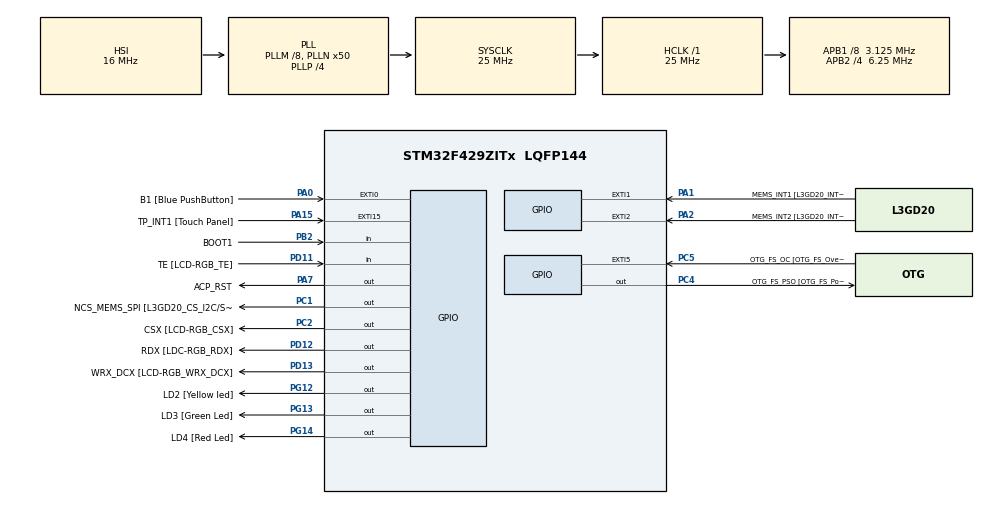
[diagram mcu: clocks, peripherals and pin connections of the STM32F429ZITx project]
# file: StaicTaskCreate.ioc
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Mcu.Family=STM32F4
Mcu.Name=STM32F429ZITx
Mcu.Package=LQFP144
NVIC.PriorityGroup=NVIC_PRIORITYGROUP_4
NVIC.TIM6_DAC_IRQn=true\:15\:0\:false\:false\:true\:false\:true\:true
NVIC.TimeBase=TIM6_DAC_IRQn
NVIC.TimeBaseIP=TIM6
PA0/WKUP.GPIO_Label=B1 [Blue PushButton]
PA0/WKUP.GPIO_ModeDefaultEXTI=GPIO_MODE_EVT_RISING
PA0/WKUP.GPIO_PuPd=GPIO_NOPULL
PA0/WKUP.Signal=GPXTI0
PA1.GPIO_Label=MEMS_INT1 [L3GD20_INT1]
PA1.GPIO_ModeDefaultEXTI=GPIO_MODE_EVT_RISING
PA1.GPIO_PuPd=GPIO_NOPULL
PA1.Signal=GPXTI1
PA10.GPIO_Label=STLINK_TX [STM32F103CBT6_PA2]
PA10.Signal=USART1_RX
PA11.GPIO_Label=R4
PA11.GPIO_Mode=GPIO_MODE_AF_PP
PA11.GPIO_PuPd=GPIO_NOPULL
PA11.GPIO_Speed=GPIO_SPEED_FREQ_LOW
PA11.Signal=LTDC_R4
PA12.GPIO_Label=R5
PA12.GPIO_Mode=GPIO_MODE_AF_PP
PA12.GPIO_PuPd=GPIO_NOPULL
PA12.GPIO_Speed=GPIO_SPEED_FREQ_LOW
PA12.Signal=LTDC_R5
PA13.GPIO_Label=SWDIO
PA13.Signal=SYS_JTMS-SWDIO
PA14.GPIO_Label=SWCLK
PA14.Signal=SYS_JTCK-SWCLK
PA15.GPIO_Label=TP_INT1 [Touch Panel]
PA15.GPIO_ModeDefaultEXTI=GPIO_MODE_EVT_RISING
PA15.GPIO_PuPd=GPIO_NOPULL
PA15.Signal=GPXTI15
PA2.GPIO_Label=MEMS_INT2 [L3GD20_INT2]
PA2.GPIO_ModeDefaultEXTI=GPIO_MODE_EVT_RISING
PA2.GPIO_PuPd=GPIO_NOPULL
PA2.Signal=GPXTI2
PA3.GPIO_Label=B5
PA3.GPIO_Mode=GPIO_MODE_AF_PP
PA3.GPIO_PuPd=GPIO_NOPULL
PA3.GPIO_Speed=GPIO_SPEED_FREQ_LOW
PA3.Signal=LTDC_B5
PA4.GPIO_Label=VSYNC
PA4.GPIO_Mode=GPIO_MODE_AF_PP
PA4.GPIO_PuPd=GPIO_NOPULL
PA4.GPIO_Speed=GPIO_SPEED_FREQ_LOW
PA4.Signal=LTDC_VSYNC
PA6.GPIO_Label=G2
PA6.GPIO_Mode=GPIO_MODE_AF_PP
PA6.GPIO_PuPd=GPIO_NOPULL
PA6.GPIO_Speed=GPIO_SPEED_FREQ_LOW
PA6.Signal=LTDC_G2
PA7.GPIO_Label=ACP_RST
PA7.GPIO_Mode=GPIO_MODE_OUTPUT_PP
PA7.GPIO_PuPd=GPIO_NOPULL
PA7.GPIO_Speed=GPIO_SPEED_FREQ_LOW
PA7.Signal=GPIO_Output
PA8.GPIO_Label=I2C3_SCL [ACP/RF_SCL]
PA8.GPIO_Mode=GPIO_MODE_AF_OD
PA8.GPIO_PuPd=GPIO_NOPULL
PA8.GPIO_Speed=GPIO_SPEED_FREQ_LOW
PA8.Signal=I2C3_SCL
PA9.GPIO_Label=STLINK_RX [STM32F103CBT6_PA3]
PA9.Signal=USART1_TX
PB0.GPIO_Label=R3
PB0.GPIO_Mode=GPIO_MODE_AF_PP
PB0.GPIO_PuPd=GPIO_NOPULL
PB0.GPIO_Speed=GPIO_SPEED_FREQ_LOW
PB0.Signal=LTDC_R3
PB1.GPIO_Label=R6
PB1.GPIO_Mode=GPIO_MODE_AF_PP
PB1.GPIO_PuPd=GPIO_NOPULL
PB1.GPIO_Speed=GPIO_SPEED_FREQ_LOW
PB1.Signal=LTDC_R6
PB10.GPIO_Label=G4
PB10.GPIO_Mode=GPIO_MODE_AF_PP
PB10.GPIO_PuPd=GPIO_NOPULL
PB10.GPIO_Speed=GPIO_SPEED_FREQ_LOW
PB10.Signal=LTDC_G4
PB11.GPIO_Label=G5
PB11.GPIO_Mode=GPIO_MODE_AF_PP
PB11.GPIO_PuPd=GPIO_NOPULL
PB11.GPIO_Speed=GPIO_SPEED_FREQ_LOW
PB11.Signal=LTDC_G5
PB12.GPIO_Label=OTG_HS_ID
PB12.GPIO_Mode=GPIO_MODE_AF_PP
PB12.GPIO_PuPd=GPIO_NOPULL
PB12.GPIO_Speed=GPIO_SPEED_FREQ_LOW
PB12.Signal=USB_OTG_HS_ID
PB13.GPIO_Label=VBUS_HS
PB13.GPIO_Mode=GPIO_MODE_INPUT
PB13.GPIO_PuPd=GPIO_NOPULL
PB13.Signal=USB_OTG_HS_VBUS
PB14.GPIO_Label=OTG_HS_DM
PB14.GPIO_Mode=GPIO_MODE_AF_PP
PB14.GPIO_PuPd=GPIO_NOPULL
PB14.GPIO_Speed=GPIO_SPEED_FREQ_LOW
PB14.Signal=USB_OTG_HS_DM
PB15.GPIO_Label=OTG_HS_DP
PB15.GPIO_Mode=GPIO_MODE_AF_PP
PB15.GPIO_PuPd=GPIO_NOPULL
PB15.GPIO_Speed=GPIO_SPEED_FREQ_LOW
PB15.Signal=USB_OTG_HS_DP
PB2/BOOT1.GPIO_Label=BOOT1
PB2/BOOT1.GPIO_Mode=GPIO_MODE_INPUT
PB2/BOOT1.GPIO_PuPd=GPIO_NOPULL
PB2/BOOT1.Signal=GPIO_Input
PB5.GPIO_Label=SDCKE1
PB5.GPIO_Mode=GPIO_MODE_AF_PP
PB5.GPIO_PuPd=GPIO_NOPULL
PB5.GPIO_Speed=GPIO_SPEED_FREQ_VERY_HIGH
PB5.Signal=FMC_SDCKE1
PB6.GPIO_Label=SDNE1 [SDRAM_CS]
PB6.GPIO_Mode=GPIO_MODE_AF_PP
PB6.GPIO_PuPd=GPIO_NOPULL
PB6.GPIO_Speed=GPIO_SPEED_FREQ_VERY_HIGH
PB6.Signal=FMC_SDNE1
PB8.GPIO_Label=B6
PB8.GPIO_Mode=GPIO_MODE_AF_PP
PB8.GPIO_PuPd=GPIO_NOPULL
PB8.GPIO_Speed=GPIO_SPEED_FREQ_LOW
PB8.Signal=LTDC_B6
PB9.GPIO_Label=B7
PB9.GPIO_Mode=GPIO_MODE_AF_PP
PB9.GPIO_PuPd=GPIO_NOPULL
PB9.GPIO_Speed=GPIO_SPEED_FREQ_LOW
PB9.Signal=LTDC_B7
PC0.GPIO_Label=SDNWE
PC0.GPIO_Mode=GPIO_MODE_AF_PP
PC0.GPIO_PuPd=GPIO_NOPULL
PC0.GPIO_Speed=GPIO_SPEED_FREQ_VERY_HIGH
PC0.Signal=FMC_SDNWE
PC1.GPIO_Label=NCS_MEMS_SPI [L3GD20_CS_I2C/SPI]
PC1.GPIO_Mode=GPIO_MODE_OUTPUT_PP
PC1.GPIO_PuPd=GPIO_NOPULL
PC1.GPIO_Speed=GPIO_SPEED_FREQ_LOW
PC1.Signal=GPIO_Output
PC10.GPIO_Label=R2
PC10.GPIO_Mode=GPIO_MODE_AF_PP
PC10.GPIO_PuPd=GPIO_NOPULL
PC10.GPIO_Speed=GPIO_SPEED_FREQ_LOW
PC10.Signal=LTDC_R2
PC14/OSC32_IN.GPIO_Label=PC14-OSC32_IN
PC14/OSC32_IN.Signal=RCC_OSC32_IN
PC15/OSC32_OUT.GPIO_Label=PC15-OSC32_OUT
PC15/OSC32_OUT.Signal=RCC_OSC32_OUT
PC2.GPIO_Label=CSX [LCD-RGB_CSX]
PC2.GPIO_Mode=GPIO_MODE_OUTPUT_PP
PC2.GPIO_PuPd=GPIO_NOPULL
PC2.GPIO_Speed=GPIO_SPEED_FREQ_LOW
PC2.Signal=GPIO_Output
PC4.GPIO_Label=OTG_FS_PSO [OTG_FS_PowerSwitchOn]
PC4.GPIO_Mode=GPIO_MODE_OUTPUT_PP
PC4.GPIO_PuPd=GPIO_NOPULL
PC4.GPIO_Speed=GPIO_SPEED_FREQ_LOW
PC4.Signal=GPIO_Output
PC5.GPIO_Label=OTG_FS_OC [OTG_FS_OverCurrent]
PC5.GPIO_ModeDefaultEXTI=GPIO_MODE_EVT_RISING
PC5.Signal=GPXTI5
PC6.GPIO_Label=HSYNC
PC6.GPIO_Mode=GPIO_MODE_AF_PP
PC6.GPIO_PuPd=GPIO_NOPULL
PC6.GPIO_Speed=GPIO_SPEED_FREQ_LOW
PC6.Signal=LTDC_HSYNC
PC7.GPIO_Label=G6
PC7.GPIO_Mode=GPIO_MODE_AF_PP
PC7.GPIO_PuPd=GPIO_NOPULL
PC7.GPIO_Speed=GPIO_SPEED_FREQ_LOW
PC7.Signal=LTDC_G6
PC9.GPIO_Label=I2C3_SDA [ACP/RF_SDA]
PC9.GPIO_Mode=GPIO_MODE_AF_OD
PC9.GPIO_PuPd=GPIO_NOPULL
PC9.GPIO_Speed=GPIO_SPEED_FREQ_LOW
PC9.Signal=I2C3_SDA
PD0.GPIO_Label=D2
PD0.GPIO_Mode=GPIO_MODE_AF_PP
PD0.GPIO_PuPd=GPIO_NOPULL
PD0.GPIO_Speed=GPIO_SPEED_FREQ_VERY_HIGH
PD0.Signal=FMC_D2_DA2
PD1.GPIO_Label=D3
PD1.GPIO_Mode=GPIO_MODE_AF_PP
PD1.GPIO_PuPd=GPIO_NOPULL
PD1.GPIO_Speed=GPIO_SPEED_FREQ_VERY_HIGH
PD1.Signal=FMC_D3_DA3
PD10.GPIO_Label=D15
PD10.GPIO_Mode=GPIO_MODE_AF_PP
PD10.GPIO_PuPd=GPIO_NOPULL
PD10.GPIO_Speed=GPIO_SPEED_FREQ_VERY_HIGH
PD10.Signal=FMC_D15_DA15
PD11.GPIO_Label=TE [LCD-RGB_TE]
PD11.GPIO_Mode=GPIO_MODE_INPUT
PD11.GPIO_PuPd=GPIO_NOPULL
PD11.Signal=GPIO_Input
PD12.GPIO_Label=RDX [LDC-RGB_RDX]
PD12.GPIO_Mode=GPIO_MODE_OUTPUT_PP
PD12.GPIO_PuPd=GPIO_NOPULL
PD12.GPIO_Speed=GPIO_SPEED_FREQ_LOW
PD12.Signal=GPIO_Output
PD13.GPIO_Label=WRX_DCX [LCD-RGB_WRX_DCX]
PD13.GPIO_Mode=GPIO_MODE_OUTPUT_PP
PD13.GPIO_PuPd=GPIO_NOPULL
PD13.GPIO_Speed=GPIO_SPEED_FREQ_LOW
PD13.Signal=GPIO_Output
PD14.GPIO_Label=D0
PD14.GPIO_Mode=GPIO_MODE_AF_PP
PD14.GPIO_PuPd=GPIO_NOPULL
PD14.GPIO_Speed=GPIO_SPEED_FREQ_VERY_HIGH
PD14.Signal=FMC_D0_DA0
PD15.GPIO_Label=D1
PD15.GPIO_Mode=GPIO_MODE_AF_PP
PD15.GPIO_PuPd=GPIO_NOPULL
PD15.GPIO_Speed=GPIO_SPEED_FREQ_VERY_HIGH
PD15.Signal=FMC_D1_DA1
PD3.GPIO_Label=G7
PD3.GPIO_Mode=GPIO_MODE_AF_PP
PD3.GPIO_PuPd=GPIO_NOPULL
PD3.GPIO_Speed=GPIO_SPEED_FREQ_LOW
PD3.Signal=LTDC_G7
PD6.GPIO_Label=B2
PD6.GPIO_Mode=GPIO_MODE_AF_PP
PD6.GPIO_PuPd=GPIO_NOPULL
PD6.GPIO_Speed=GPIO_SPEED_FREQ_LOW
PD6.Signal=LTDC_B2
PD8.GPIO_Label=D13
PD8.GPIO_Mode=GPIO_MODE_AF_PP
PD8.GPIO_PuPd=GPIO_NOPULL
PD8.GPIO_Speed=GPIO_SPEED_FREQ_VERY_HIGH
PD8.Signal=FMC_D13_DA13
PD9.GPIO_Label=D14
PD9.GPIO_Mode=GPIO_MODE_AF_PP
PD9.GPIO_PuPd=GPIO_NOPULL
PD9.GPIO_Speed=GPIO_SPEED_FREQ_VERY_HIGH
PD9.Signal=FMC_D14_DA14
PE0.GPIO_Label=NBL0 [SDRAM_LDQM]
PE0.GPIO_Mode=GPIO_MODE_AF_PP
PE0.GPIO_PuPd=GPIO_NOPULL
PE0.GPIO_Speed=GPIO_SPEED_FREQ_VERY_HIGH
PE0.Signal=FMC_NBL0
PE1.GPIO_Label=NBL1 [SDRAM_UDQM]
PE1.GPIO_Mode=GPIO_MODE_AF_PP
PE1.GPIO_PuPd=GPIO_NOPULL
PE1.GPIO_Speed=GPIO_SPEED_FREQ_VERY_HIGH
PE1.Signal=FMC_NBL1
PE10.GPIO_Label=D7
PE10.GPIO_Mode=GPIO_MODE_AF_PP
PE10.GPIO_PuPd=GPIO_NOPULL
PE10.GPIO_Speed=GPIO_SPEED_FREQ_VERY_HIGH
PE10.Signal=FMC_D7_DA7
PE11.GPIO_Label=D8
PE11.GPIO_Mode=GPIO_MODE_AF_PP
PE11.GPIO_PuPd=GPIO_NOPULL
PE11.GPIO_Speed=GPIO_SPEED_FREQ_VERY_HIGH
PE11.Signal=FMC_D8_DA8
PE12.GPIO_Label=D9
PE12.GPIO_Mode=GPIO_MODE_AF_PP
PE12.GPIO_PuPd=GPIO_NOPULL
PE12.GPIO_Speed=GPIO_SPEED_FREQ_VERY_HIGH
PE12.Signal=FMC_D9_DA9
PE13.GPIO_Label=D10
PE13.GPIO_Mode=GPIO_MODE_AF_PP
PE13.GPIO_PuPd=GPIO_NOPULL
PE13.GPIO_Speed=GPIO_SPEED_FREQ_VERY_HIGH
PE13.Signal=FMC_D10_DA10
PE14.GPIO_Label=D11
PE14.GPIO_Mode=GPIO_MODE_AF_PP
PE14.GPIO_PuPd=GPIO_NOPULL
PE14.GPIO_Speed=GPIO_SPEED_FREQ_VERY_HIGH
PE14.Signal=FMC_D11_DA11
PE15.GPIO_Label=D12
PE15.GPIO_Mode=GPIO_MODE_AF_PP
PE15.GPIO_PuPd=GPIO_NOPULL
PE15.GPIO_Speed=GPIO_SPEED_FREQ_VERY_HIGH
PE15.Signal=FMC_D12_DA12
PE7.GPIO_Label=D4
PE7.GPIO_Mode=GPIO_MODE_AF_PP
PE7.GPIO_PuPd=GPIO_NOPULL
PE7.GPIO_Speed=GPIO_SPEED_FREQ_VERY_HIGH
PE7.Signal=FMC_D4_DA4
PE8.GPIO_Label=D5
PE8.GPIO_Mode=GPIO_MODE_AF_PP
PE8.GPIO_PuPd=GPIO_NOPULL
PE8.GPIO_Speed=GPIO_SPEED_FREQ_VERY_HIGH
PE8.Signal=FMC_D5_DA5
PE9.GPIO_Label=D6
PE9.GPIO_Mode=GPIO_MODE_AF_PP
PE9.GPIO_PuPd=GPIO_NOPULL
PE9.GPIO_Speed=GPIO_SPEED_FREQ_VERY_HIGH
PE9.Signal=FMC_D6_DA6
PF0.GPIO_Label=A0
PF0.GPIO_Mode=GPIO_MODE_AF_PP
PF0.GPIO_PuPd=GPIO_NOPULL
PF0.GPIO_Speed=GPIO_SPEED_FREQ_VERY_HIGH
PF0.Signal=FMC_A0
PF1.GPIO_Label=A1
PF1.GPIO_Mode=GPIO_MODE_AF_PP
PF1.GPIO_PuPd=GPIO_NOPULL
PF1.GPIO_Speed=GPIO_SPEED_FREQ_VERY_HIGH
PF1.Signal=FMC_A1
PF10.GPIO_Label=ENABLE [LCD-RGB_ENABLE]
PF10.GPIO_Mode=GPIO_MODE_AF_PP
PF10.GPIO_PuPd=GPIO_NOPULL
PF10.GPIO_Speed=GPIO_SPEED_FREQ_LOW
PF10.Signal=LTDC_DE
PF11.GPIO_Label=SDNRAS
PF11.GPIO_Mode=GPIO_MODE_AF_PP
PF11.GPIO_PuPd=GPIO_NOPULL
PF11.GPIO_Speed=GPIO_SPEED_FREQ_VERY_HIGH
PF11.Signal=FMC_SDNRAS
PF12.GPIO_Label=A6
PF12.GPIO_Mode=GPIO_MODE_AF_PP
PF12.GPIO_PuPd=GPIO_NOPULL
PF12.GPIO_Speed=GPIO_SPEED_FREQ_VERY_HIGH
PF12.Signal=FMC_A6
PF13.GPIO_Label=A7
PF13.GPIO_Mode=GPIO_MODE_AF_PP
PF13.GPIO_PuPd=GPIO_NOPULL
PF13.GPIO_Speed=GPIO_SPEED_FREQ_VERY_HIGH
PF13.Signal=FMC_A7
PF14.GPIO_Label=A8
PF14.GPIO_Mode=GPIO_MODE_AF_PP
PF14.GPIO_PuPd=GPIO_NOPULL
PF14.GPIO_Speed=GPIO_SPEED_FREQ_VERY_HIGH
PF14.Signal=FMC_A8
PF15.GPIO_Label=A9
PF15.GPIO_Mode=GPIO_MODE_AF_PP
PF15.GPIO_PuPd=GPIO_NOPULL
PF15.GPIO_Speed=GPIO_SPEED_FREQ_VERY_HIGH
PF15.Signal=FMC_A9
PF2.GPIO_Label=A2
PF2.GPIO_Mode=GPIO_MODE_AF_PP
PF2.GPIO_PuPd=GPIO_NOPULL
PF2.GPIO_Speed=GPIO_SPEED_FREQ_VERY_HIGH
PF2.Signal=FMC_A2
PF3.GPIO_Label=A3
PF3.GPIO_Mode=GPIO_MODE_AF_PP
PF3.GPIO_PuPd=GPIO_NOPULL
PF3.GPIO_Speed=GPIO_SPEED_FREQ_VERY_HIGH
PF3.Signal=FMC_A3
PF4.GPIO_Label=A4
PF4.GPIO_Mode=GPIO_MODE_AF_PP
PF4.GPIO_PuPd=GPIO_NOPULL
PF4.GPIO_Speed=GPIO_SPEED_FREQ_VERY_HIGH
PF4.Signal=FMC_A4
PF5.GPIO_Label=A5
PF5.GPIO_Mode=GPIO_MODE_AF_PP
PF5.GPIO_PuPd=GPIO_NOPULL
PF5.GPIO_Speed=GPIO_SPEED_FREQ_VERY_HIGH
PF5.Signal=FMC_A5
PF7.GPIO_Label=SPI5_SCK [L3GD20_SCL/SPC]
PF7.GPIO_Mode=GPIO_MODE_AF_PP
PF7.GPIO_PuPd=GPIO_NOPULL
PF7.GPIO_Speed=GPIO_SPEED_FREQ_LOW
PF7.Signal=SPI5_SCK
PF8.GPIO_Label=SPI5_MISO [L3GD20_SDO]
PF8.GPIO_Mode=GPIO_MODE_AF_PP
PF8.GPIO_PuPd=GPIO_NOPULL
PF8.GPIO_Speed=GPIO_SPEED_FREQ_LOW
PF8.Signal=SPI5_MISO
PF9.GPIO_Label=SPI5_MOSI [L3GD20_SDA/SDI/SDO]
PF9.GPIO_Mode=GPIO_MODE_AF_PP
PF9.GPIO_PuPd=GPIO_NOPULL
PF9.GPIO_Speed=GPIO_SPEED_FREQ_LOW
PF9.Signal=SPI5_MOSI
PG0.GPIO_Label=A10
PG0.GPIO_Mode=GPIO_MODE_AF_PP
PG0.GPIO_PuPd=GPIO_NOPULL
PG0.GPIO_Speed=GPIO_SPEED_FREQ_VERY_HIGH
PG0.Signal=FMC_A10
PG1.GPIO_Label=A11
PG1.GPIO_Mode=GPIO_MODE_AF_PP
PG1.GPIO_PuPd=GPIO_NOPULL
PG1.GPIO_Speed=GPIO_SPEED_FREQ_VERY_HIGH
PG1.Signal=FMC_A11
PG10.GPIO_Label=G3
PG10.GPIO_Mode=GPIO_MODE_AF_PP
PG10.GPIO_PuPd=GPIO_NOPULL
PG10.GPIO_Speed=GPIO_SPEED_FREQ_LOW
PG10.Signal=LTDC_G3
PG11.GPIO_Label=B3
PG11.GPIO_Mode=GPIO_MODE_AF_PP
PG11.GPIO_PuPd=GPIO_NOPULL
PG11.GPIO_Speed=GPIO_SPEED_FREQ_LOW
PG11.Signal=LTDC_B3
PG12.GPIO_Label=LD2 [Yellow led]
PG12.Signal=GPIO_Output
PG13.GPIO_Label=LD3 [Green Led]
PG13.GPIO_Mode=GPIO_MODE_OUTPUT_PP
PG13.GPIO_PuPd=GPIO_NOPULL
PG13.GPIO_Speed=GPIO_SPEED_FREQ_LOW
PG13.Signal=GPIO_Output
PG14.GPIO_Label=LD4 [Red Led]
PG14.GPIO_Mode=GPIO_MODE_OUTPUT_PP
PG14.GPIO_PuPd=GPIO_NOPULL
PG14.GPIO_Speed=GPIO_SPEED_FREQ_LOW
PG14.Signal=GPIO_Output
PG15.GPIO_Label=SDNCAS
PG15.GPIO_Mode=GPIO_MODE_AF_PP
PG15.GPIO_PuPd=GPIO_NOPULL
PG15.GPIO_Speed=GPIO_SPEED_FREQ_VERY_HIGH
PG15.Signal=FMC_SDNCAS
PG4.GPIO_Label=BA0
PG4.GPIO_Mode=GPIO_MODE_AF_PP
PG4.GPIO_PuPd=GPIO_NOPULL
PG4.GPIO_Speed=GPIO_SPEED_FREQ_VERY_HIGH
PG4.Signal=FMC_A14_BA0
PG5.GPIO_Label=BA1
PG5.GPIO_Mode=GPIO_MODE_AF_PP
PG5.GPIO_PuPd=GPIO_NOPULL
PG5.GPIO_Speed=GPIO_SPEED_FREQ_VERY_HIGH
PG5.Signal=FMC_A15_BA1
PG6.GPIO_Label=R7
PG6.GPIO_Mode=GPIO_MODE_AF_PP
PG6.GPIO_PuPd=GPIO_NOPULL
PG6.GPIO_Speed=GPIO_SPEED_FREQ_LOW
PG6.Signal=LTDC_R7
PG7.GPIO_Label=DOTCLK [LCT-RGB_DOTCLK]
PG7.GPIO_Mode=GPIO_MODE_AF_PP
PG7.GPIO_PuPd=GPIO_NOPULL
PG7.GPIO_Speed=GPIO_SPEED_FREQ_LOW
PG7.Signal=LTDC_CLK
PG8.GPIO_Label=SDCLK
PG8.GPIO_Mode=GPIO_MODE_AF_PP
PG8.GPIO_PuPd=GPIO_NOPULL
PG8.GPIO_Speed=GPIO_SPEED_FREQ_VERY_HIGH
PG8.Signal=FMC_SDCLK
PH0/OSC_IN.GPIO_Label=PH0-OSC_IN
PH0/OSC_IN.Signal=RCC_OSC_IN
PH1/OSC_OUT.GPIO_Label=PH1-OSC_OUT
PH1/OSC_OUT.Signal=RCC_OSC_OUT
ProjectManager.HeapSize=0x200
ProjectManager.StackSize=0x400
ProjectManager.TargetToolchain=STM32CubeIDE
RCC.48MHZClocksFreq_Value=14285714.285714285
RCC.AHBFreq_Value=25000000
RCC.APB1CLKDivider=RCC_HCLK_DIV8
RCC.APB1Freq_Value=3125000
RCC.APB1TimFreq_Value=6250000
RCC.APB2CLKDivider=RCC_HCLK_DIV4
RCC.APB2Freq_Value=6250000
RCC.APB2TimFreq_Value=12500000
RCC.CortexFreq_Value=25000000
RCC.HCLKFreq_Value=25000000
RCC.HSE_VALUE=8000000
RCC.HSI_VALUE=16000000
RCC.LSE_VALUE=32768
RCC.PLLM=8
RCC.PLLN=50
RCC.PLLP=RCC_PLLP_DIV4
RCC.PLLQ=7
RCC.SYSCLKFreq_VALUE=25000000
RCC.SYSCLKSource=RCC_SYSCLKSOURCE_PLLCLK
RCC.VCOOutputFreq_Value=100000000
SH.FMC_A0.0=FMC_A0
SH.FMC_A1.0=FMC_A1
SH.FMC_A10.0=FMC_A10
SH.FMC_A11.0=FMC_A11
SH.FMC_A14_BA0.0=FMC_BA0
SH.FMC_A15_BA1.0=FMC_BA1
SH.FMC_A2.0=FMC_A2
SH.FMC_A3.0=FMC_A3
SH.FMC_A4.0=FMC_A4
SH.FMC_A5.0=FMC_A5
SH.FMC_A6.0=FMC_A6
SH.FMC_A7.0=FMC_A7
SH.FMC_A8.0=FMC_A8
SH.FMC_A9.0=FMC_A9
SH.FMC_D0_DA0.0=FMC_D0
SH.FMC_D10_DA10.0=FMC_D10
SH.FMC_D11_DA11.0=FMC_D11
SH.FMC_D12_DA12.0=FMC_D12
SH.FMC_D13_DA13.0=FMC_D13
SH.FMC_D14_DA14.0=FMC_D14
SH.FMC_D15_DA15.0=FMC_D15
SH.FMC_D1_DA1.0=FMC_D1
SH.FMC_D2_DA2.0=FMC_D2
SH.FMC_D3_DA3.0=FMC_D3
SH.FMC_D4_DA4.0=FMC_D4
SH.FMC_D5_DA5.0=FMC_D5
SH.FMC_D6_DA6.0=FMC_D6
SH.FMC_D7_DA7.0=FMC_D7
SH.FMC_D8_DA8.0=FMC_D8
SH.FMC_D9_DA9.0=FMC_D9
SH.FMC_NBL0.0=FMC_NBL0
SH.FMC_NBL1.0=FMC_NBL1
SH.FMC_SDCLK.0=FMC_SDCLK
SH.FMC_SDNCAS.0=FMC_SDNCAS
SH.FMC_SDNRAS.0=FMC_SDNRAS
SH.FMC_SDNWE.0=FMC_SDNWE
VP_SYS_VS_tim6.Mode=TIM6
board=STM32F429I-DISC1

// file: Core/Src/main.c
/* USER CODE BEGIN Header */
/**
  ******************************************************************************
  * @file           : main.c
  * @brief          : Main program body
  ******************************************************************************
  * @attention
  *
  * Copyright (c) 2023 STMicroelectronics.
  * All rights reserved.
  *
  * This software is licensed under terms that can be found in the LICENSE file
  * in the root directory of this software component.
  * If no LICENSE file comes with this software, it is provided AS-IS.
  *
  ******************************************************************************
  */
/* USER CODE END Header */
#include "main.h"

/* USER CODE BEGIN PD */
/**
 * 	function prototypes
 */
void GreenTask(void *argument);
void BlueTask(void *argument);
void RedTask(void *argument);
void lookBusy( void );
void vIdleTask(void *pvParameters);
void vTimerCallback(TimerHandle_t pxTimer);

//the address of Task2Handle is passed to xTaskCreate.
//this global variable will be used by Task3 to delete BlueTask.
TaskHandle_t blueTaskHandle;

// some common variables to use for each task
// 128 * 4 = 512 bytes
//(recommended min stack size per task)
#define STACK_SIZE 128

/**********************This Allocate memory for vApplicationGetIdleTaskMemory for xtask create static***********************/

/* If the buffers to be provided to the Idle task are declared inside this
function then they must be declared static - otherwise they will be allocated on
the stack and so not exists after this function exits. */

static StackType_t uxIdleTaskStack[configMINIMAL_STACK_SIZE];

static StaticTask_t xIdleTaskTCB;

/********************************************Allocate memory for vApplicationGetTimerTaskMemory***********************/

/* If the buffers to be provided to the Timer task are declared inside this
function then they must be declared static - otherwise they will be allocated on
the stack and so not exists after this function exits. */

static StaticTask_t xTimerTaskTCB;

static StackType_t uxTimerTaskStack[ configTIMER_TASK_STACK_DEPTH ];

/**************************************************************************************/
//define stack and task control block (TCB) for the red task
static StackType_t RedTaskStack[STACK_SIZE];
static StaticTask_t RedTaskTCB;

/*********************************************CReate Timer********************************/

TimerHandle_t xTimer;

/* USER CODE END PD */

void SystemClock_Config(void);
static void MX_GPIO_Init(void);

int main(void)
{

  /* MCU Configuration--------------------------------------------------------*/

  /* Reset of all peripherals, Initializes the Flash interface and the Systick. */
  HAL_Init();

  /* Configure the system clock */
  SystemClock_Config();

  /* Initialize all configured peripherals */
  MX_GPIO_Init();
  /* USER CODE BEGIN 2 */

  SEGGER_SYSVIEW_Conf();

  //using an inlined if statement with an infinite while loop to stop in case
  	//the task wasn't created successfully
  	if (xTaskCreate(GreenTask, "GreenTask", STACK_SIZE, NULL, tskIDLE_PRIORITY + 2, NULL) != pdPASS){ while(1); }

  	//using an assert to ensure proper task creation
  	if (xTaskCreate(BlueTask, "BlueTask", STACK_SIZE, NULL, tskIDLE_PRIORITY + 1, &blueTaskHandle)!= pdPASS){ while(1); }

  	//xTaskCreateStatic returns task hanlde
  	//always passes since memory was statically allocated
  	xTaskCreateStatic(RedTask, "RedTask", STACK_SIZE, NULL,
  						tskIDLE_PRIORITY + 1,
  						RedTaskStack, &RedTaskTCB);

  	xTaskCreateStatic(vIdleTask, "Idle Task", configMINIMAL_STACK_SIZE, NULL, tskIDLE_PRIORITY,
  						uxIdleTaskStack, &xIdleTaskTCB);

  	/* Create the software timer */
  	xTimer = xTimerCreate("MyTimer", pdMS_TO_TICKS(1000), pdTRUE, NULL, vTimerCallback);

  	xTimerStart( xTimer, 0 );

  	//start the scheduler - shouldn't return unless there's a problem
  	vTaskStartScheduler();

  /* USER CODE END 2 */

  /* Infinite loop */
  while (1)
  {

  }
}

void SystemClock_Config(void)
{
  RCC_OscInitTypeDef RCC_OscInitStruct = {0};
  RCC_ClkInitTypeDef RCC_ClkInitStruct = {0};

  /** Configure the main internal regulator output voltage
  */
  __HAL_RCC_PWR_CLK_ENABLE();
  __HAL_PWR_VOLTAGESCALING_CONFIG(PWR_REGULATOR_VOLTAGE_SCALE3);

  /** Initializes the RCC Oscillators according to the specified parameters
  * in the RCC_OscInitTypeDef structure.
  */
  RCC_OscInitStruct.OscillatorType = RCC_OSCILLATORTYPE_HSI;
  RCC_OscInitStruct.HSIState = RCC_HSI_ON;
  RCC_OscInitStruct.HSICalibrationValue = RCC_HSICALIBRATION_DEFAULT;
  RCC_OscInitStruct.PLL.PLLState = RCC_PLL_ON;
  RCC_OscInitStruct.PLL.PLLSource = RCC_PLLSOURCE_HSI;
  RCC_OscInitStruct.PLL.PLLM = 8;
  RCC_OscInitStruct.PLL.PLLN = 50;
  RCC_OscInitStruct.PLL.PLLP = RCC_PLLP_DIV4;
  RCC_OscInitStruct.PLL.PLLQ = 7;
  if (HAL_RCC_OscConfig(&RCC_OscInitStruct) != HAL_OK)
  {
    Error_Handler();
  }

  /** Initializes the CPU, AHB and APB buses clocks
  */
  RCC_ClkInitStruct.ClockType = RCC_CLOCKTYPE_HCLK|RCC_CLOCKTYPE_SYSCLK
                              |RCC_CLOCKTYPE_PCLK1|RCC_CLOCKTYPE_PCLK2;
  RCC_ClkInitStruct.SYSCLKSource = RCC_SYSCLKSOURCE_PLLCLK;
  RCC_ClkInitStruct.AHBCLKDivider = RCC_SYSCLK_DIV1;
  RCC_ClkInitStruct.APB1CLKDivider = RCC_HCLK_DIV8;
  RCC_ClkInitStruct.APB2CLKDivider = RCC_HCLK_DIV4;

  if (HAL_RCC_ClockConfig(&RCC_ClkInitStruct, FLASH_LATENCY_0) != HAL_OK)
  {
    Error_Handler();
  }
}

static void MX_GPIO_Init(void)
{
  GPIO_InitTypeDef GPIO_InitStruct = {0};

  /* GPIO Ports Clock Enable */
  __HAL_RCC_GPIOC_CLK_ENABLE();
  __HAL_RCC_GPIOF_CLK_ENABLE();
  __HAL_RCC_GPIOH_CLK_ENABLE();
  __HAL_RCC_GPIOA_CLK_ENABLE();
  __HAL_RCC_GPIOB_CLK_ENABLE();
  __HAL_RCC_GPIOG_CLK_ENABLE();
  __HAL_RCC_GPIOE_CLK_ENABLE();
  __HAL_RCC_GPIOD_CLK_ENABLE();

  /*Configure GPIO pin Output Level */
  HAL_GPIO_WritePin(GPIOC, NCS_MEMS_SPI_Pin|CSX_Pin|OTG_FS_PSO_Pin, GPIO_PIN_RESET);

  /*Configure GPIO pin Output Level */
  HAL_GPIO_WritePin(ACP_RST_GPIO_Port, ACP_RST_Pin, GPIO_PIN_RESET);

  /*Configure GPIO pin Output Level */
  HAL_GPIO_WritePin(GPIOD, RDX_Pin|WRX_DCX_Pin, GPIO_PIN_RESET);

  /*Configure GPIO pin Output Level */
  HAL_GPIO_WritePin(GPIOG, LD2_Pin|LD3_Pin|LD4_Pin, GPIO_PIN_RESET);

  /*Configure GPIO pins : A0_Pin A1_Pin A2_Pin A3_Pin
                           A4_Pin A5_Pin SDNRAS_Pin A6_Pin
                           A7_Pin A8_Pin A9_Pin */
  GPIO_InitStruct.Pin = A0_Pin|A1_Pin|A2_Pin|A3_Pin
                          |A4_Pin|A5_Pin|SDNRAS_Pin|A6_Pin
                          |A7_Pin|A8_Pin|A9_Pin;
  GPIO_InitStruct.Mode = GPIO_MODE_AF_PP;
  GPIO_InitStruct.Pull = GPIO_NOPULL;
  GPIO_InitStruct.Speed = GPIO_SPEED_FREQ_VERY_HIGH;
  GPIO_InitStruct.Alternate = GPIO_AF12_FMC;
  HAL_GPIO_Init(GPIOF, &GPIO_InitStruct);

  /*Configure GPIO pins : SPI5_SCK_Pin SPI5_MISO_Pin SPI5_MOSI_Pin */
  GPIO_InitStruct.Pin = SPI5_SCK_Pin|SPI5_MISO_Pin|SPI5_MOSI_Pin;
  GPIO_InitStruct.Mode = GPIO_MODE_AF_PP;
  GPIO_InitStruct.Pull = GPIO_NOPULL;
  GPIO_InitStruct.Speed = GPIO_SPEED_FREQ_LOW;
  GPIO_InitStruct.Alternate = GPIO_AF5_SPI5;
  HAL_GPIO_Init(GPIOF, &GPIO_InitStruct);

  /*Configure GPIO pin : ENABLE_Pin */
  GPIO_InitStruct.Pin = ENABLE_Pin;
  GPIO_InitStruct.Mode = GPIO_MODE_AF_PP;
  GPIO_InitStruct.Pull = GPIO_NOPULL;
  GPIO_InitStruct.Speed = GPIO_SPEED_FREQ_LOW;
  GPIO_InitStruct.Alternate = GPIO_AF14_LTDC;
  HAL_GPIO_Init(ENABLE_GPIO_Port, &GPIO_InitStruct);

  /*Configure GPIO pin : SDNWE_Pin */
  GPIO_InitStruct.Pin = SDNWE_Pin;
  GPIO_InitStruct.Mode = GPIO_MODE_AF_PP;
  GPIO_InitStruct.Pull = GPIO_NOPULL;
  GPIO_InitStruct.Speed = GPIO_SPEED_FREQ_VERY_HIGH;
  GPIO_InitStruct.Alternate = GPIO_AF12_FMC;
  HAL_GPIO_Init(SDNWE_GPIO_Port, &GPIO_InitStruct);

  /*Configure GPIO pins : NCS_MEMS_SPI_Pin CSX_Pin OTG_FS_PSO_Pin */
  GPIO_InitStruct.Pin = NCS_MEMS_SPI_Pin|CSX_Pin|OTG_FS_PSO_Pin;
  GPIO_InitStruct.Mode = GPIO_MODE_OUTPUT_PP;
  GPIO_InitStruct.Pull = GPIO_NOPULL;
  GPIO_InitStruct.Speed = GPIO_SPEED_FREQ_LOW;
  HAL_GPIO_Init(GPIOC, &GPIO_InitStruct);

  /*Configure GPIO pins : B1_Pin MEMS_INT1_Pin MEMS_INT2_Pin TP_INT1_Pin */
  GPIO_InitStruct.Pin = B1_Pin|MEMS_INT1_Pin|MEMS_INT2_Pin|TP_INT1_Pin;
  GPIO_InitStruct.Mode = GPIO_MODE_EVT_RISING;
  GPIO_InitStruct.Pull = GPIO_NOPULL;
  HAL_GPIO_Init(GPIOA, &GPIO_InitStruct);

  /*Configure GPIO pins : B5_Pin VSYNC_Pin G2_Pin R4_Pin
                           R5_Pin */
  GPIO_InitStruct.Pin = B5_Pin|VSYNC_Pin|G2_Pin|R4_Pin
                          |R5_Pin;
  GPIO_InitStruct.Mode = GPIO_MODE_AF_PP;
  GPIO_InitStruct.Pull = GPIO_NOPULL;
  GPIO_InitStruct.Speed = GPIO_SPEED_FREQ_LOW;
  GPIO_InitStruct.Alternate = GPIO_AF14_LTDC;
  HAL_GPIO_Init(GPIOA, &GPIO_InitStruct);

  /*Configure GPIO pin : ACP_RST_Pin */
  GPIO_InitStruct.Pin = ACP_RST_Pin;
  GPIO_InitStruct.Mode = GPIO_MODE_OUTPUT_PP;
  GPIO_InitStruct.Pull = GPIO_NOPULL;
  GPIO_InitStruct.Speed = GPIO_SPEED_FREQ_LOW;
  HAL_GPIO_Init(ACP_RST_GPIO_Port, &GPIO_InitStruct);

  /*Configure GPIO pin : OTG_FS_OC_Pin */
  GPIO_InitStruct.Pin = OTG_FS_OC_Pin;
  GPIO_InitStruct.Mode = GPIO_MODE_EVT_RISING;
  GPIO_InitStruct.Pull = GPIO_NOPULL;
  HAL_GPIO_Init(OTG_FS_OC_GPIO_Port, &GPIO_InitStruct);

  /*Configure GPIO pins : R3_Pin R6_Pin */
  GPIO_InitStruct.Pin = R3_Pin|R6_Pin;
  GPIO_InitStruct.Mode = GPIO_MODE_AF_PP;
  GPIO_InitStruct.Pull = GPIO_NOPULL;
  GPIO_InitStruct.Speed = GPIO_SPEED_FREQ_LOW;
  GPIO_InitStruct.Alternate = GPIO_AF9_LTDC;
  HAL_GPIO_Init(GPIOB, &GPIO_InitStruct);

  /*Configure GPIO pin : BOOT1_Pin */
  GPIO_InitStruct.Pin = BOOT1_Pin;
  GPIO_InitStruct.Mode = GPIO_MODE_INPUT;
  GPIO_InitStruct.Pull = GPIO_NOPULL;
  HAL_GPIO_Init(BOOT1_GPIO_Port, &GPIO_InitStruct);

  /*Configure GPIO pins : A10_Pin A11_Pin BA0_Pin BA1_Pin
                           SDCLK_Pin SDNCAS_Pin */
  GPIO_InitStruct.Pin = A10_Pin|A11_Pin|BA0_Pin|BA1_Pin
                          |SDCLK_Pin|SDNCAS_Pin;
  GPIO_InitStruct.Mode = GPIO_MODE_AF_PP;
  GPIO_InitStruct.Pull = GPIO_NOPULL;
  GPIO_InitStruct.Speed = GPIO_SPEED_FREQ_VERY_HIGH;
  GPIO_InitStruct.Alternate = GPIO_AF12_FMC;
  HAL_GPIO_Init(GPIOG, &GPIO_InitStruct);

  /*Configure GPIO pins : D4_Pin D5_Pin D6_Pin D7_Pin
                           D8_Pin D9_Pin D10_Pin D11_Pin
                           D12_Pin NBL0_Pin NBL1_Pin */
  GPIO_InitStruct.Pin = D4_Pin|D5_Pin|D6_Pin|D7_Pin
                          |D8_Pin|D9_Pin|D10_Pin|D11_Pin
                          |D12_Pin|NBL0_Pin|NBL1_Pin;
  GPIO_InitStruct.Mode = GPIO_MODE_AF_PP;
  GPIO_InitStruct.Pull = GPIO_NOPULL;
  GPIO_InitStruct.Speed = GPIO_SPEED_FREQ_VERY_HIGH;
  GPIO_InitStruct.Alternate = GPIO_AF12_FMC;
  HAL_GPIO_Init(GPIOE, &GPIO_InitStruct);

  /*Configure GPIO pins : G4_Pin G5_Pin B6_Pin B7_Pin */
  GPIO_InitStruct.Pin = G4_Pin|G5_Pin|B6_Pin|B7_Pin;
  GPIO_InitStruct.Mode = GPIO_MODE_AF_PP;
  GPIO_InitStruct.Pull = GPIO_NOPULL;
  GPIO_InitStruct.Speed = GPIO_SPEED_FREQ_LOW;
  GPIO_InitStruct.Alternate = GPIO_AF14_LTDC;
  HAL_GPIO_Init(GPIOB, &GPIO_InitStruct);

  /*Configure GPIO pins : OTG_HS_ID_Pin OTG_HS_DM_Pin OTG_HS_DP_Pin */
  GPIO_InitStruct.Pin = OTG_HS_ID_Pin|OTG_HS_DM_Pin|OTG_HS_DP_Pin;
  GPIO_InitStruct.Mode = GPIO_MODE_AF_PP;
  GPIO_InitStruct.Pull = GPIO_NOPULL;
  GPIO_InitStruct.Speed = GPIO_SPEED_FREQ_LOW;
  GPIO_InitStruct.Alternate = GPIO_AF12_OTG_HS_FS;
  HAL_GPIO_Init(GPIOB, &GPIO_InitStruct);

  /*Configure GPIO pin : VBUS_HS_Pin */
  GPIO_InitStruct.Pin = VBUS_HS_Pin;
  GPIO_InitStruct.Mode = GPIO_MODE_INPUT;
  GPIO_InitStruct.Pull = GPIO_NOPULL;
  HAL_GPIO_Init(VBUS_HS_GPIO_Port, &GPIO_InitStruct);

  /*Configure GPIO pins : D13_Pin D14_Pin D15_Pin D0_Pin
                           D1_Pin D2_Pin D3_Pin */
  GPIO_InitStruct.Pin = D13_Pin|D14_Pin|D15_Pin|D0_Pin
                          |D1_Pin|D2_Pin|D3_Pin;
  GPIO_InitStruct.Mode = GPIO_MODE_AF_PP;
  GPIO_InitStruct.Pull = GPIO_NOPULL;
  GPIO_InitStruct.Speed = GPIO_SPEED_FREQ_VERY_HIGH;
  GPIO_InitStruct.Alternate = GPIO_AF12_FMC;
  HAL_GPIO_Init(GPIOD, &GPIO_InitStruct);

  /*Configure GPIO pin : TE_Pin */
  GPIO_InitStruct.Pin = TE_Pin;
  GPIO_InitStruct.Mode = GPIO_MODE_INPUT;
  GPIO_InitStruct.Pull = GPIO_NOPULL;
  HAL_GPIO_Init(TE_GPIO_Port, &GPIO_InitStruct);

  /*Configure GPIO pins : RDX_Pin WRX_DCX_Pin */
  GPIO_InitStruct.Pin = RDX_Pin|WRX_DCX_Pin;
  GPIO_InitStruct.Mode = GPIO_MODE_OUTPUT_PP;
  GPIO_InitStruct.Pull = GPIO_NOPULL;
  GPIO_InitStruct.Speed = GPIO_SPEED_FREQ_LOW;
  HAL_GPIO_Init(GPIOD, &GPIO_InitStruct);

  /*Configure GPIO pins : R7_Pin DOTCLK_Pin B3_Pin */
  GPIO_InitStruct.Pin = R7_Pin|DOTCLK_Pin|B3_Pin;
  GPIO_InitStruct.Mode = GPIO_MODE_AF_PP;
  GPIO_InitStruct.Pull = GPIO_NOPULL;
  GPIO_InitStruct.Speed = GPIO_SPEED_FREQ_LOW;
  GPIO_InitStruct.Alternate = GPIO_AF14_LTDC;
  HAL_GPIO_Init(GPIOG, &GPIO_InitStruct);

  /*Configure GPIO pins : HSYNC_Pin G6_Pin R2_Pin */
  GPIO_InitStruct.Pin = HSYNC_Pin|G6_Pin|R2_Pin;
  GPIO_InitStruct.Mode = GPIO_MODE_AF_PP;
  GPIO_InitStruct.Pull = GPIO_NOPULL;
  GPIO_InitStruct.Speed = GPIO_SPEED_FREQ_LOW;
  GPIO_InitStruct.Alternate = GPIO_AF14_LTDC;
  HAL_GPIO_Init(GPIOC, &GPIO_InitStruct);

  /*Configure GPIO pin : I2C3_SDA_Pin */
  GPIO_InitStruct.Pin = I2C3_SDA_Pin;
  GPIO_InitStruct.Mode = GPIO_MODE_AF_OD;
  GPIO_InitStruct.Pull = GPIO_NOPULL;
  GPIO_InitStruct.Speed = GPIO_SPEED_FREQ_LOW;
  GPIO_InitStruct.Alternate = GPIO_AF4_I2C3;
  HAL_GPIO_Init(I2C3_SDA_GPIO_Port, &GPIO_InitStruct);

  /*Configure GPIO pin : I2C3_SCL_Pin */
  GPIO_InitStruct.Pin = I2C3_SCL_Pin;
  GPIO_InitStruct.Mode = GPIO_MODE_AF_OD;
  GPIO_InitStruct.Pull = GPIO_NOPULL;
  GPIO_InitStruct.Speed = GPIO_SPEED_FREQ_LOW;
  GPIO_InitStruct.Alternate = GPIO_AF4_I2C3;
  HAL_GPIO_Init(I2C3_SCL_GPIO_Port, &GPIO_InitStruct);

  /*Configure GPIO pins : STLINK_RX_Pin STLINK_TX_Pin */
  GPIO_InitStruct.Pin = STLINK_RX_Pin|STLINK_TX_Pin;
  GPIO_InitStruct.Mode = GPIO_MODE_AF_PP;
  GPIO_InitStruct.Pull = GPIO_NOPULL;
  GPIO_InitStruct.Speed = GPIO_SPEED_FREQ_VERY_HIGH;
  GPIO_InitStruct.Alternate = GPIO_AF7_USART1;
  HAL_GPIO_Init(GPIOA, &GPIO_InitStruct);

  /*Configure GPIO pins : G7_Pin B2_Pin */
  GPIO_InitStruct.Pin = G7_Pin|B2_Pin;
  GPIO_InitStruct.Mode = GPIO_MODE_AF_PP;
  GPIO_InitStruct.Pull = GPIO_NOPULL;
  GPIO_InitStruct.Speed = GPIO_SPEED_FREQ_LOW;
  GPIO_InitStruct.Alternate = GPIO_AF14_LTDC;
  HAL_GPIO_Init(GPIOD, &GPIO_InitStruct);

  /*Configure GPIO pin : G3_Pin */
  GPIO_InitStruct.Pin = G3_Pin;
  GPIO_InitStruct.Mode = GPIO_MODE_AF_PP;
  GPIO_InitStruct.Pull = GPIO_NOPULL;
  GPIO_InitStruct.Speed = GPIO_SPEED_FREQ_LOW;
  GPIO_InitStruct.Alternate = GPIO_AF9_LTDC;
  HAL_GPIO_Init(G3_GPIO_Port, &GPIO_InitStruct);

  /*Configure GPIO pins : LD2_Pin LD3_Pin LD4_Pin */
  GPIO_InitStruct.Pin = LD2_Pin|LD3_Pin|LD4_Pin;
  GPIO_InitStruct.Mode = GPIO_MODE_OUTPUT_PP;
  GPIO_InitStruct.Pull = GPIO_NOPULL;
  GPIO_InitStruct.Speed = GPIO_SPEED_FREQ_LOW;
  HAL_GPIO_Init(GPIOG, &GPIO_InitStruct);

  /*Configure GPIO pins : SDCKE1_Pin SDNE1_Pin */
  GPIO_InitStruct.Pin = SDCKE1_Pin|SDNE1_Pin;
  GPIO_InitStruct.Mode = GPIO_MODE_AF_PP;
  GPIO_InitStruct.Pull = GPIO_NOPULL;
  GPIO_InitStruct.Speed = GPIO_SPEED_FREQ_VERY_HIGH;
  GPIO_InitStruct.Alternate = GPIO_AF12_FMC;
  HAL_GPIO_Init(GPIOB, &GPIO_InitStruct);

}

/* USER CODE BEGIN 4 */

void GreenTask(void *argument)
{
	SEGGER_SYSVIEW_PrintfHost("Task1 running \
							   while Green LED is on\n");
	GreenLed.On();
	vTaskDelay(1500/ portTICK_PERIOD_MS);
	GreenLed.Off();

	//a task can delete itself by passing NULL to vTaskDelete
	vTaskDelete(NULL);

	//task never get's here
	GreenLed.On();
}

void BlueTask( void* argument )
{
	while(1)
	{
		SEGGER_SYSVIEW_PrintfHost("BlueTaskRunning\n");
		BlueLed.On();
		vTaskDelay(300 / portTICK_PERIOD_MS);
		BlueLed.Off();
		vTaskDelay(300 / portTICK_PERIOD_MS);
	}
}

void RedTask( void* argument )
{
	uint8_t firstRun = 1;

	while(1)
	{
		lookBusy();

		SEGGER_SYSVIEW_PrintfHost("RedTaskRunning\n");
		RedLed.On();
		vTaskDelay(500/ portTICK_PERIOD_MS);
		RedLed.Off();
		vTaskDelay(500/ portTICK_PERIOD_MS);

		if(firstRun == 1)
		{

			//tasks can delete one-another by passing the desired
			//TaskHandle_t to vTaskDelete
			vTaskDelete(blueTaskHandle);
			firstRun = 0;
		}
	}
}

void lookBusy( void )
{
	volatile uint32_t dontCare = 0;
	for(int i = 0; i < 50E3; i++)
	{
		dontCare = i % 4;
	}
	SEGGER_SYSVIEW_PrintfHost("looking busy %d\n", dontCare);
}

void vApplicationGetIdleTaskMemory( StaticTask_t **ppxIdleTaskTCBBuffer,
                                    StackType_t **ppxIdleTaskStackBuffer,
                                    uint32_t *pulIdleTaskStackSize )
{

    /* Pass out a pointer to the StaticTask_t structure in which the Idle task's
    state will be stored. */
    *ppxIdleTaskTCBBuffer = &xIdleTaskTCB;

    /* Pass out the array that will be used as the Idle task's stack. */
    *ppxIdleTaskStackBuffer = uxIdleTaskStack;

    /* Pass out the size of the array pointed to by *ppxIdleTaskStackBuffer.
    Note that, as the array is necessarily of type StackType_t,
    configMINIMAL_STACK_SIZE is specified in words, not bytes. */
    *pulIdleTaskStackSize = configMINIMAL_STACK_SIZE;
}

void vApplicationGetTimerTaskMemory( StaticTask_t **ppxTimerTaskTCBBuffer,
                                     StackType_t **ppxTimerTaskStackBuffer,
                                     uint32_t *pulTimerTaskStackSize )
{

    /* Pass out a pointer to the StaticTask_t structure in which the Timer
    task's state will be stored. */
    *ppxTimerTaskTCBBuffer = &xTimerTaskTCB;

    /* Pass out the array that will be used as the Timer task's stack. */
    *ppxTimerTaskStackBuffer = uxTimerTaskStack;

    /* Pass out the size of the array pointed to by *ppxTimerTaskStackBuffer.
    Note that, as the array is necessarily of type StackType_t,
    configTIMER_TASK_STACK_DEPTH is specified in words, not bytes. */
    *pulTimerTaskStackSize = configTIMER_TASK_STACK_DEPTH;
}

/* Define the task function for the idle task. */
void vIdleTask(void *pvParameters)
{
    while (1)
    {
        /* Perform idle task processing here. */
    	SEGGER_SYSVIEW_PrintfHost("Idle task running");
    }
}

void vTimerCallback(TimerHandle_t pxTimer)
{
/* Perform the necessary actions when the timer expires */
	SEGGER_SYSVIEW_PrintfHost("Timer Expired");
}

/* USER CODE END 4 */

void HAL_TIM_PeriodElapsedCallback(TIM_HandleTypeDef *htim)
{
  if (htim->Instance == TIM6) {
    HAL_IncTick();
  }
}

void Error_Handler(void)
{
  __disable_irq();
  while (1)
  {
  }
}
